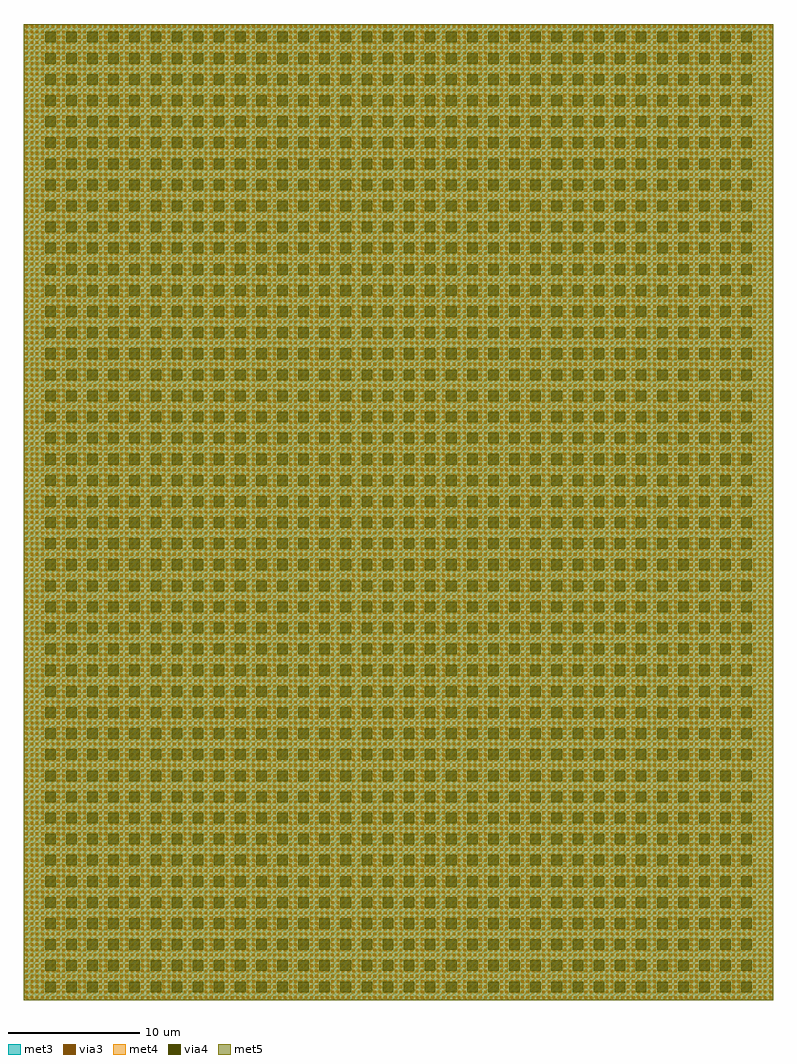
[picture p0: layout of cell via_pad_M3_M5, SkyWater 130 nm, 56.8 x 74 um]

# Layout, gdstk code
import gdstk
lib = gdstk.Library(unit=1e-6, precision=1e-09)
def R(c, l, rs):  # rectangles x0, y0, x1, y1
    for r in rs: c.add(gdstk.rectangle(r[:2], r[2:], *l))
def A(c, l, x, y, w, h, nx, ny, dx, dy):  # array of equal rectangles
    R(c, l, [(x+i*dx, y+j*dy, x+i*dx+w, y+j*dy+h) for i in range(nx) for j in range(ny)])
met3 = (70, 20)
via3 = (70, 44)
met4 = (71, 20)
via4 = (71, 44)
met5 = (72, 20)

via_pad_m3_m5 = lib.new_cell('via_pad_M3_M5')
R(via_pad_m3_m5, met3, [(123.02,1024.44,179.82,1098.44)])
A(via_pad_m3_m5, via3, 123.12, 1024.54, 0.2, 0.2, 142, 185, 0.4, 0.4)
A(via_pad_m3_m5, met4, 124.22, 1024.64, 3.2, 1.6, 17, 46, 3.2, 1.6)
R(via_pad_m3_m5, met4, [(123.02,1024.44,179.82,1098.44)])
A(via_pad_m3_m5, via4, 124.62, 1025.04, 0.8, 0.8, 34, 46, 1.6, 1.6)
R(via_pad_m3_m5, met5, [(123.02,1024.44,179.82,1098.44)])

lib.write_gds('via_pad_M3_M5.gds')
